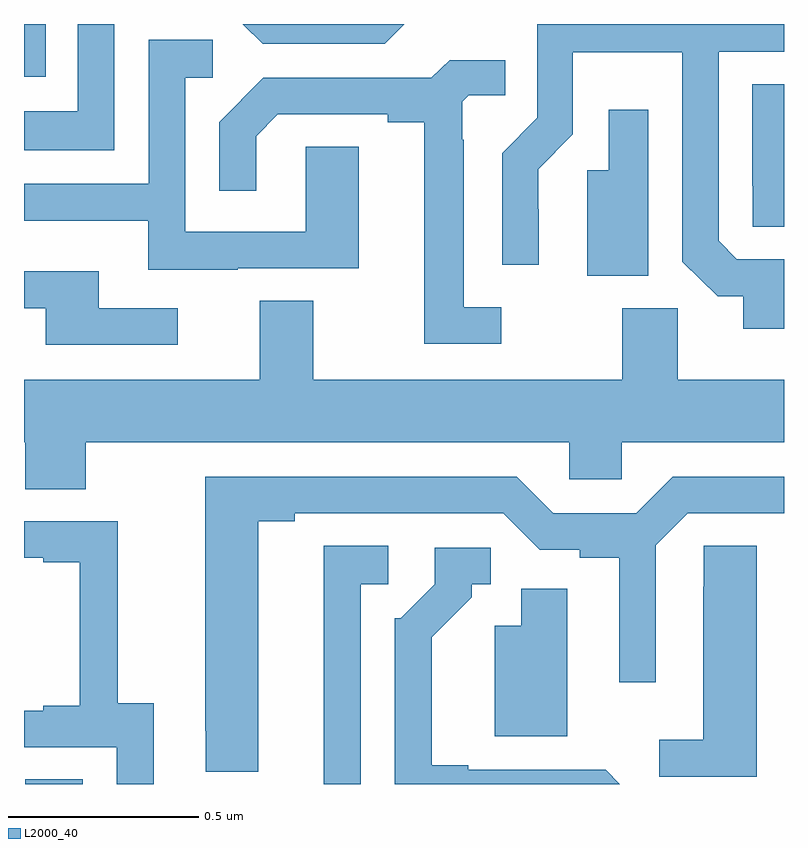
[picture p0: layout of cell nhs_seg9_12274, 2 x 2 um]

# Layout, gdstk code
import gdstk
lib = gdstk.Library(unit=1e-6, precision=1e-09)
def R(c, l, rs):  # rectangles x0, y0, x1, y1
    for r in rs: c.add(gdstk.rectangle(r[:2], r[2:], *l))
def P(c, l, *ps):  # polygons
    for p in ps: c.add(gdstk.Polygon(p, *l))
L2000_40 = (2000, 40)

nhs_seg9_12274 = lib.new_cell('nhs_seg9_12274')
R(nhs_seg9_12274, L2000_40, [(266.003,1215.5,266.155,1215.512), (266,1217.361,266.057,1217.5)])
P(nhs_seg9_12274, L2000_40, [(266.238,1217.5),(266.142,1217.5),(266.142,1217.271),(266,1217.271),(266,1217.168),(266.238,1217.168)],
  [(267.001,1217.5),(266.576,1217.5),(266.628,1217.448),(266.949,1217.448)],
  [(268,1216.881),(267.876,1216.881),(267.828,1216.929),(267.828,1217.427),(268,1217.427),(268,1217.5),(267.351,1217.5),(267.351,1217.253),(267.258,1217.16),(267.258,1216.866),(267.354,1216.866),(267.354,1217.012),(267.353,1217.012),(267.353,1217.118),(267.444,1217.21),(267.444,1217.426),(267.732,1217.426),(267.732,1216.875),(267.825,1216.783),(267.893,1216.783),(267.893,1216.698),(268,1216.698)],
  [(266.563,1216.857),(266.881,1216.857),(266.881,1217.177),(266.742,1217.177),(266.742,1216.953),(266.424,1216.953),(266.424,1217.358),(266.497,1217.358),(266.497,1217.459),(266.328,1217.459),(266.328,1217.079),(266,1217.079),(266,1216.982),(266.327,1216.982),(266.327,1216.853),(266.563,1216.853)],
  [(267.256,1216.755),(267.157,1216.755),(267.157,1217.195),(267.153,1217.195),(267.153,1217.295),(267.171,1217.313),(267.266,1217.313),(267.266,1217.405),(267.12,1217.405),(267.072,1217.358),(266.63,1217.358),(266.514,1217.242),(266.514,1217.061),(266.611,1217.061),(266.611,1217.205),(266.668,1217.262),(266.957,1217.262),(266.957,1217.242),(267.053,1217.242),(267.053,1216.659),(267.256,1216.659)],
  [(268,1217.342),(267.917,1217.342),(267.917,1217.074),(267.918,1217.074),(267.918,1216.966),(268,1216.966)],
  [(267.643,1217.275),(267.539,1217.275),(267.539,1217.115),(267.482,1217.115),(267.482,1216.837),(267.643,1216.837)],
  [(266.404,1216.752),(266.197,1216.752),(266.197,1216.849),(266,1216.849),(266,1216.752),(266.057,1216.752),(266.057,1216.656),(266.404,1216.656)],
  [(266.163,1216.4),(267.435,1216.4),(267.435,1216.302),(267.573,1216.302),(267.573,1216.4),(268,1216.4),(268,1216.564),(267.72,1216.564),(267.72,1216.752),(267.574,1216.752),(267.574,1216.564),(266.761,1216.564),(266.761,1216.772),(266.621,1216.772),(266.621,1216.564),(266,1216.564),(266,1216.4),(266.003,1216.4),(266.003,1216.276),(266.163,1216.276)],
  [(266.617,1216.192),(266.713,1216.192),(266.713,1216.212),(267.261,1216.212),(267.357,1216.116),(267.462,1216.116),(267.462,1216.096),(267.566,1216.096),(267.566,1215.768),(267.663,1215.768),(267.663,1216.128),(267.747,1216.212),(268,1216.212),(268,1216.308),(267.707,1216.308),(267.611,1216.212),(267.393,1216.212),(267.297,1216.308),(266.477,1216.308),(266.477,1215.64),(266.478,1215.64),(266.478,1215.532),(266.617,1215.532)],
  [(266.341,1215.713),(266.247,1215.713),(266.247,1216.191),(266,1216.191),(266,1216.095),(266.051,1216.095),(266.051,1216.083),(266.147,1216.083),(266.147,1215.706),(266.051,1215.706),(266.051,1215.693),(266,1215.693),(266,1215.597),(266.244,1215.597),(266.244,1215.5),(266.341,1215.5)],
  [(266.886,1216.026),(266.959,1216.026),(266.959,1216.127),(266.789,1216.127),(266.789,1215.5),(266.886,1215.5)],
  [(267.928,1216.127),(267.789,1216.127),(267.789,1216.019),(267.788,1216.019),(267.788,1215.616),(267.672,1215.616),(267.672,1215.519),(267.928,1215.519)],
  [(267.531,1215.537),(267.169,1215.537),(267.169,1215.55),(267.073,1215.55),(267.073,1215.886),(267.178,1215.991),(267.178,1216.026),(267.228,1216.026),(267.228,1216.122),(267.081,1216.122),(267.081,1216.026),(266.991,1215.936),(266.976,1215.936),(266.976,1215.5),(267.568,1215.5)],
  [(267.43,1216.014),(267.308,1216.014),(267.308,1215.916),(267.239,1215.916),(267.239,1215.626),(267.43,1215.626)])

lib.write_gds('nhs_seg9_12274.gds')
